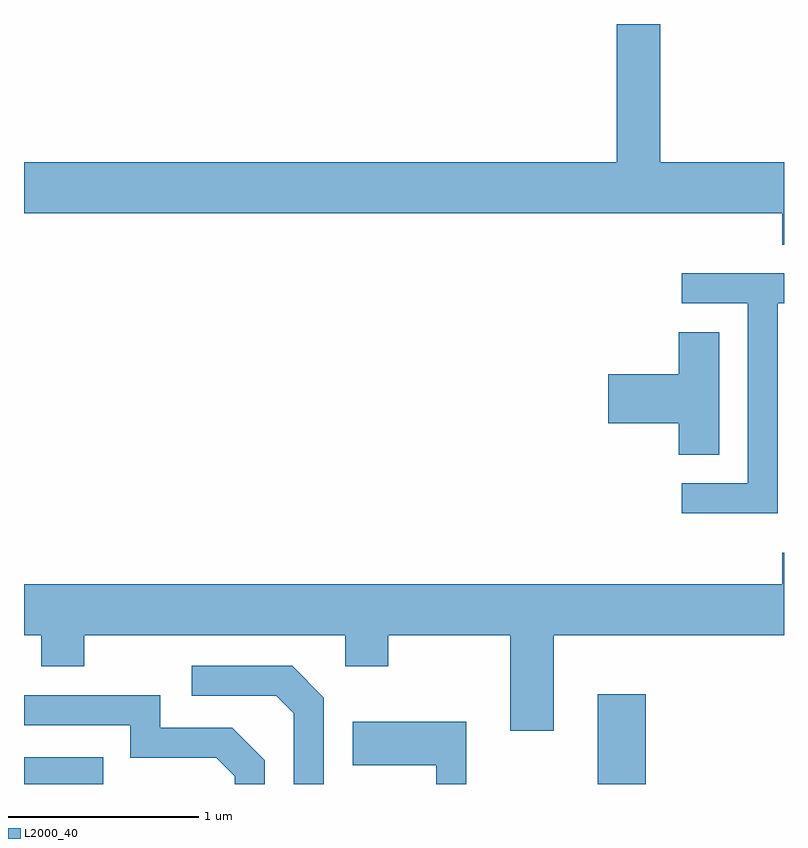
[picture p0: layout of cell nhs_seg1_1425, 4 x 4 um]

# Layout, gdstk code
import gdstk
lib = gdstk.Library(unit=1e-6, precision=1e-09)
def R(c, l, rs):  # rectangles x0, y0, x1, y1
    for r in rs: c.add(gdstk.rectangle(r[:2], r[2:], *l))
def P(c, l, *ps):  # polygons
    for p in ps: c.add(gdstk.Polygon(p, *l))
L2000_40 = (2000, 40)

nhs_seg1_1425 = lib.new_cell('nhs_seg1_1425')
R(nhs_seg1_1425, L2000_40, [(229.611,867.712,230.028,867.854), (232.631,867.712,232.884,868.184)])
P(nhs_seg1_1425, L2000_40, [(233.611,870.984),(232.959,870.984),(232.959,871.712),(232.731,871.712),(232.731,870.984),(229.611,870.984),(229.611,870.716),(233.601,870.716),(233.601,870.551),(233.611,870.551)],
  [(233.579,870.241),(233.611,870.241),(233.611,870.399),(233.073,870.399),(233.073,870.241),(233.421,870.241),(233.421,869.294),(233.073,869.294),(233.073,869.136),(233.579,869.136)],
  [(233.269,870.089),(233.056,870.089),(233.056,869.869),(232.686,869.869),(232.686,869.611),(233.056,869.611),(233.056,869.446),(233.269,869.446)],
  [(229.611,868.496),(229.701,868.496),(229.701,868.331),(229.929,868.331),(229.929,868.496),(231.301,868.496),(231.301,868.331),(231.529,868.331),(231.529,868.496),(232.171,868.496),(232.171,867.991),(232.399,867.991),(232.399,868.496),(233.611,868.496),(233.611,868.929),(233.601,868.929),(233.601,868.764),(229.611,868.764)],
  [(231.189,868.167),(231.022,868.334),(230.493,868.334),(230.493,868.176),(230.939,868.176),(231.031,868.084),(231.031,867.712),(231.189,867.712)],
  [(230.879,867.837),(230.707,868.009),(230.329,868.009),(230.329,868.179),(229.611,868.179),(229.611,868.021),(230.171,868.021),(230.171,867.851),(230.624,867.851),(230.721,867.754),(230.721,867.712),(230.879,867.712)],
  [(231.939,868.039),(231.341,868.039),(231.341,867.811),(231.781,867.811),(231.781,867.712),(231.939,867.712)])

lib.write_gds('nhs_seg1_1425.gds')
